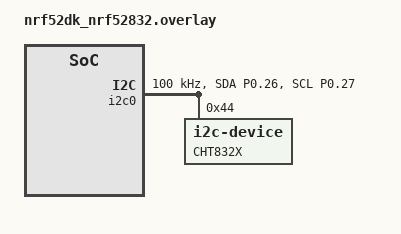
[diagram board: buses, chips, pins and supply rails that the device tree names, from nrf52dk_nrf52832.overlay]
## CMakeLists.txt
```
cmake_minimum_required(VERSION 3.20.0)
find_package(Zephyr REQUIRED HINTS $ENV{ZEPHYR_BASE})

project(sen0546)

target_sources(app PRIVATE src/main.c)
```

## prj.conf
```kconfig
CONFIG_LOG=y
CONFIG_LOG_DEFAULT_LEVEL=3
CONFIG_I2C=y
```

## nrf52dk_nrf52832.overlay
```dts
&i2c0 {
    compatible = "nordic,nrf-twim";  /* enable TWIM hardware */
    status = "okay";
    clock-frequency = <I2C_BITRATE_STANDARD>; /* 100 kHz */

    pinctrl-0 = <&i2c0_default>;
    pinctrl-1 = <&i2c0_sleep>;
    pinctrl-names = "default", "sleep";
    
    cht832x: cht832x@44 {
        compatible = "i2c-device";
        reg = <0x44>;
        label = "CHT832X";
    };
};

&pinctrl {
    i2c0_default: i2c0_default {
        group1 {
            psels = <NRF_PSEL(TWIM_SDA, 0, 26)>,
                    <NRF_PSEL(TWIM_SCL, 0, 27)>;
        };
    };

    i2c0_sleep: i2c0_sleep {
        group1 {
            psels = <NRF_PSEL(TWIM_SDA, 0, 26)>,
                    <NRF_PSEL(TWIM_SCL, 0, 27)>;
            low-power-enable;
        };
    };
};
```

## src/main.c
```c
#include <zephyr/kernel.h>
#include <zephyr/device.h>
#include <zephyr/devicetree.h>
#include <zephyr/drivers/i2c.h>

#define CHT_NODE DT_NODELABEL(cht832x)
static const struct i2c_dt_spec cht_i2c = I2C_DT_SPEC_GET(CHT_NODE);

int main(void) {
    if (!device_is_ready(cht_i2c.bus)) {
        printk("I2C bus %s is not ready!\n\r", cht_i2c.bus->name);
        return;
    }

    while (1) {
        /*
        CHT832X one-shot (clock-stretch enabled):
        Returns 6 bytes in this order:
        Temp MSB, Temp LSB, Temp CRC, RH MSB, RH LSB, RH CRC
        */
        uint8_t oneshot_opcode[2] = {0x2C, 0x06};
        uint8_t read_buf[6];

        int ret = i2c_write_read_dt(
                &cht_i2c,
                oneshot_opcode,
                sizeof(oneshot_opcode),
                read_buf,
                sizeof(read_buf)
        );
        if (ret) {
            printk("I2C transfer failed: addr=%#04x cmd=%#04x%02x err=%d\n",
                   cht_i2c.addr, oneshot_opcode[0], oneshot_opcode[1], ret);
            k_sleep(K_MSEC(500));
            continue;
        }

        // Combine 2-byte value pairs
        uint16_t raw_temp  = ((uint16_t)read_buf[0] << 8) | read_buf[1];
        uint16_t raw_rh = ((uint16_t)read_buf[3] << 8) | read_buf[4];
        // Calculations
        float temp_c = -45.0f + 175.0f * ((float)raw_temp / 65535.0f);
        float rh_percent = 100.0f * ((float)raw_rh / 65535.0f);
        // Convert to fixed point (alternatively, enable FPU)
        int final_temp = (int)(temp_c * 100);
        int final_rh = (int)(rh_percent * 100);

        printk("T=%d.%02d C, RH=%d.%02d %%\n",
                final_temp / 100, final_temp % 100,
                final_rh / 100,   final_rh % 100
        );

        k_sleep(K_SECONDS(1));
    }
    return 0;
}
```
